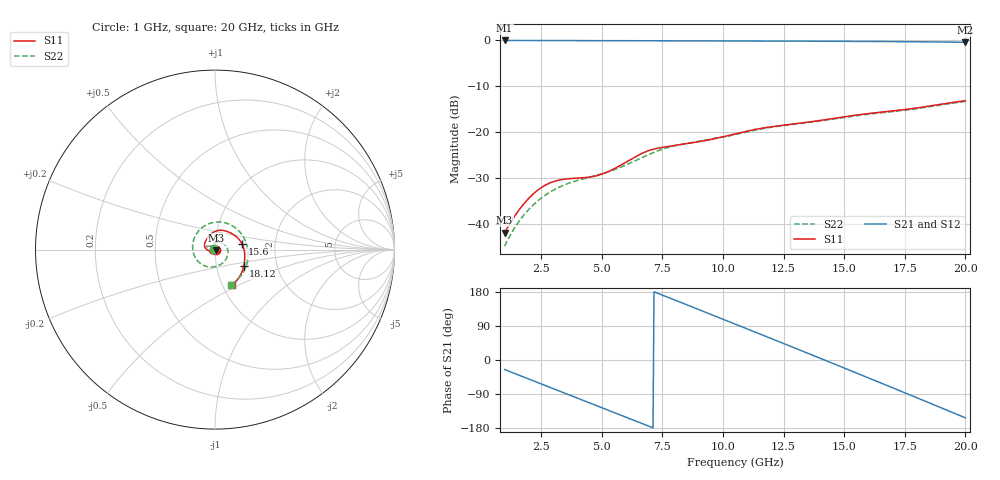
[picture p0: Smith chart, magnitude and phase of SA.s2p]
! Touchstone file from project TestMultiLine
! Exported from HFSS 14.0.0
! Variables:
!  gap = 0mm
!  hair = 35mm
!  hsub = 0.762mm
!  l = 28mm
!  lair = 40mm
!  lmic = 14mm
!  w = 25mm
!  wair = 40mm
!  wmic = 2.1mm
!Data is not renormalized
# GHZ S MA
! Modal data exported
! Port[1] = 1:1
! Port[2] = 2:1
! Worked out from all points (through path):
!   476 points, 1 GHz to 20 GHz, reference per port
!   highest |S21| = -0.02 dB at 1 GHz (marker M1); lowest = -0.4 dB at 20 GHz (marker M2)
!   group delay of S21, straight-line fit = 71.2 ps
!   lowest |S11| = -42.0 dB at 1 GHz (marker M3), VSWR 1.02
!   |S11| at or under -10 dB: start of sweep to end of sweep
!   |S22| runs from -44.9 to -13.3 dB; largest |S21 - S12| = 1.3e-09
!   S11 on the Smith chart (normalised r, x): 1 GHz: 1.01, -0.01; 15.6 GHz: 1.35, +0.09; 18.12 GHz: 1.35, -0.26; 20 GHz: 1.11, -0.46
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1  0.007947 -30.5  0.9976 -25.2  0.9976 -25.2  0.005666 151.2
1.8  0.01651 -73.2  0.9956 -45.3  0.9956 -45.3  0.01245 156.4
2.68  0.02626 -115.8  0.993 -67.4  0.993 -67.4  0.02045 155.4
3.44  0.03047 -144.9  0.9923 -86.4  0.9923 -86.4  0.02628 147.8
4.2  0.03158 -162.7  0.9925 -105.4  0.9925 -105.4  0.0306 130.5
5  0.03456 -171.1  0.9922 -125.6  0.9922 -125.6  0.03488 103.0
5.88  0.04483 -179.7  0.9904 -147.8  0.9904 -147.8  0.04229 70.2
6.64  0.05795 166.2  0.9879 -167.0  0.9879 -167.0  0.05218 44.8
7.36  0.06681 148.6  0.9881 174.9  0.9881 174.9  0.06286 22.1
8.2  0.0725 132.1  0.9886 153.6  0.9886 153.6  0.0724 -5.0
9.12  0.07924 117.5  0.9877 130.2  0.9877 130.2  0.08001 -36.6
10.52  0.09554 96.5  0.9849 94.4  0.9849 94.4  0.09381 -87.0
11.24  0.1055 84.1  0.9837 76.0  0.9837 76.0  0.1035 -112.1
11.96  0.1135 71.1  0.9827 57.5  0.9827 57.5  0.1122 -136.6
12.88  0.1219 55.6  0.9812 33.9  0.9812 33.9  0.121 -168.4
13.68  0.1297 43.1  0.9797 13.2  0.9797 13.2  0.1284 162.8
14.64  0.1415 27.9  0.9773 -11.7  0.9773 -11.7  0.1393 128.0
15.6  0.154 11.8  0.9745 -36.7  0.9745 -36.7  0.1516 93.7
16.84  0.1678 -9.2  0.9705 -69.1  0.9705 -69.1  0.1653 49.3
18.12  0.1849 -30.0  0.9651 -102.8  0.9651 -102.8  0.1817 2.0
18.96  0.2002 -44.6  0.9599 -125.0  0.9599 -125.0  0.1967 -28.6
20  0.2192 -64.3  0.9525 -152.7  0.9525 -152.7  0.2154 -65.5
